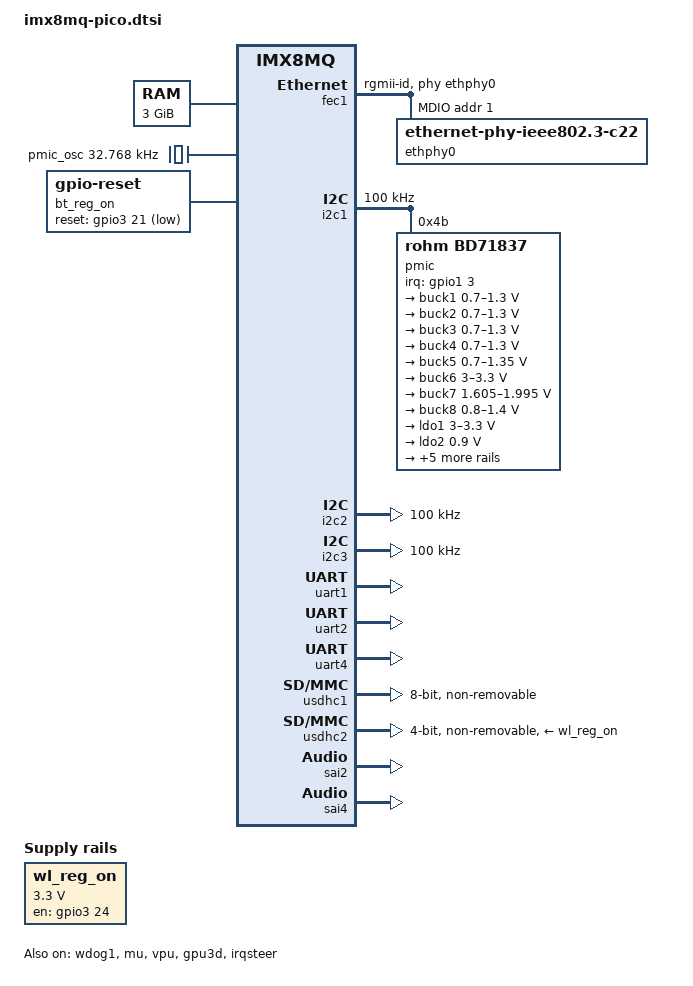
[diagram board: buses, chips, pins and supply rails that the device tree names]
// SPDX-License-Identifier: GPL-2.0+
/*
 * Copyright 2018 Wandboard, Org.
 * Copyright 2017 NXP
 *
 * Author: Richard Hu <hakahu@gmail.com>
 */

/dts-v1/;

#include "imx8mq.dtsi"

/ {
	chosen {
		bootargs = "console=ttymxc0,115200 earlycon=ec_imx6q,0x30860000,115200";
		stdout-path = &uart1;
	};

	memory@40000000 {
		device_type = "memory";
		reg = <0x00000000 0x40000000 0 0xc0000000>;
	};

	reserved-memory {
		#address-cells = <2>;
		#size-cells = <2>;
		ranges;

		rpmsg_reserved: rpmsg@b8000000 {
			no-map;
			reg = <0 0xb8000000 0 0x400000>;
		};
	};

	resmem: reserved-memory {
		#address-cells = <2>;
		#size-cells = <2>;
		ranges;

		/* global autoconfigured region for contiguous allocations */
		linux,cma {
			compatible = "shared-dma-pool";
			reusable;
			size = <0 0x30000000>;
			alloc-ranges = <0 0x40000000 0 0x40000000>;
			linux,cma-default;
		};
	};

	pmic_osc: clock-pmic {
		compatible = "fixed-clock";
		#clock-cells = <0>;
		clock-frequency = <32768>;
		clock-output-names = "pmic_osc";
	};

	bt_reg_on: btreg_on {
		compatible = "gpio-reset";
		pinctrl-names = "default";
		pinctrl-0 = <&pinctrl_bt_ctrl>;
		reset-gpios = <&gpio3 21 GPIO_ACTIVE_LOW>;
		reset-delay-us = <2000>;
		reset-post-delay-ms = <40>;
		#reset-cells = <0>;
	};

	regulators {
		compatible = "simple-bus";
		#address-cells = <1>;
		#size-cells = <0>;

		wl_reg_on: wlreg_on {
			compatible = "regulator-fixed";
			pinctrl-names = "default";
			pinctrl-0 = <&pinctrl_wifi_ctrl>;
			regulator-name = "WL_REG_ON";
			regulator-min-microvolt = <3300000>;
			regulator-max-microvolt = <3300000>;
			gpio = <&gpio3 24 GPIO_ACTIVE_HIGH>;
			off-on-delay = <20000>;
			startup-delay-us = <100>;
			enable-active-high;
		};
	};
};

&fec1 {
	pinctrl-names = "default";
	pinctrl-0 = <&pinctrl_fec1 &pinctrl_enet_3v3>;
	phy-mode = "rgmii-id";
	phy-handle = <&ethphy0>;
	fsl,magic-packet;
	status = "okay";

	mdio {
		#address-cells = <1>;
		#size-cells = <0>;

		ethphy0: ethernet-phy@1 {
			compatible = "ethernet-phy-ieee802.3-c22";
			reg = <1>;
			at803x,led-act-blind-workaround;
			at803x,eee-disabled;
			realtek,aldps-disable;
			realtek,clkout-disable;
		};
	};
};

&i2c1 {
	clock-frequency = <100000>;
	pinctrl-names = "default";
	pinctrl-0 = <&pinctrl_i2c1>;
	status = "okay";

	pmic: pmic@4b {
		reg = <0x4b>;
		compatible = "rohm,bd71837";
		pinctrl-names = "default";
		pinctrl-0 = <&pinctrl_pmic>;
		clocks = <&pmic_osc>;
		clock-names = "osc";
		clock-output-names = "pmic_clk";
		interrupt-parent = <&gpio1>;
		interrupts = <3 GPIO_ACTIVE_LOW>;
		interrupt-names = "irq";
		rohm,reset-snvs-powered;

		regulators {
			buck1: BUCK1 {
				regulator-name = "buck1";
				regulator-min-microvolt = <700000>;
				regulator-max-microvolt = <1300000>;
				regulator-boot-on;
				regulator-always-on;
				regulator-ramp-delay = <1250>;
				rohm,dvs-run-voltage = <900000>;
				rohm,dvs-idle-voltage = <850000>;
				rohm,dvs-suspend-voltage = <800000>;
			};

			buck2: BUCK2 {
				regulator-name = "buck2";
				regulator-min-microvolt = <700000>;
				regulator-max-microvolt = <1300000>;
				regulator-boot-on;
				regulator-always-on;
				regulator-ramp-delay = <1250>;
				rohm,dvs-run-voltage = <1000000>;
				rohm,dvs-idle-voltage = <900000>;
			};

			buck3: BUCK3 {
				regulator-name = "buck3";
				regulator-min-microvolt = <700000>;
				regulator-max-microvolt = <1300000>;
				regulator-boot-on;
				regulator-always-on;
				rohm,dvs-run-voltage = <900000>;
			};

			buck4: BUCK4 {
				regulator-name = "buck4";
				regulator-min-microvolt = <700000>;
				regulator-max-microvolt = <1300000>;
				regulator-boot-on;
				regulator-always-on;
				rohm,dvs-run-voltage = <900000>;
			};

			buck5: BUCK5 {
				regulator-name = "buck5";
				regulator-min-microvolt = <700000>;
				regulator-max-microvolt = <1350000>;
				regulator-boot-on;
				regulator-always-on;
			};

			buck6: BUCK6 {
				regulator-name = "buck6";
				regulator-min-microvolt = <3000000>;
				regulator-max-microvolt = <3300000>;
				regulator-boot-on;
				regulator-always-on;
			};

			buck7: BUCK7 {
				regulator-name = "buck7";
				regulator-min-microvolt = <1605000>;
				regulator-max-microvolt = <1995000>;
				regulator-boot-on;
				regulator-always-on;
			};

			buck8: BUCK8 {
				regulator-name = "buck8";
				regulator-min-microvolt = <800000>;
				regulator-max-microvolt = <1400000>;
				regulator-boot-on;
				regulator-always-on;
			};

			ldo1: LDO1 {
				regulator-name = "ldo1";
				regulator-min-microvolt = <3000000>;
				regulator-max-microvolt = <3300000>;
				regulator-boot-on;
				regulator-always-on;
			};

			ldo2: LDO2 {
				regulator-name = "ldo2";
				regulator-min-microvolt = <900000>;
				regulator-max-microvolt = <900000>;
				regulator-boot-on;
				regulator-always-on;
			};

			ldo3: LDO3 {
				regulator-name = "ldo3";
				regulator-min-microvolt = <1800000>;
				regulator-max-microvolt = <3300000>;
				regulator-boot-on;
				regulator-always-on;
			};

			ldo4: LDO4 {
				regulator-name = "ldo4";
				regulator-min-microvolt = <900000>;
				regulator-max-microvolt = <1800000>;
				regulator-boot-on;
				regulator-always-on;
			};

			ldo5: LDO5 {
				regulator-name = "ldo5";
				regulator-min-microvolt = <1800000>;
				regulator-max-microvolt = <3300000>;
				regulator-boot-on;
				regulator-always-on;
			};

			ldo6: LDO6 {
				regulator-name = "ldo6";
				regulator-min-microvolt = <900000>;
				regulator-max-microvolt = <1800000>;
				regulator-boot-on;
				regulator-always-on;
			};

			ldo7: LDO7 {
				regulator-name = "ldo7";
				regulator-min-microvolt = <1800000>;
				regulator-max-microvolt = <3300000>;
				regulator-boot-on;
				regulator-always-on;
			};
		};
	};
};

&i2c2 {
	clock-frequency = <100000>;
	pinctrl-names = "default";
	pinctrl-0 = <&pinctrl_i2c2>;
	status = "okay";
};

&i2c3 {
	clock-frequency = <100000>;
	pinctrl-names = "default";
	pinctrl-0 = <&pinctrl_i2c3>;
	status = "okay";
};

&uart1 { /* console */
	pinctrl-names = "default";
	pinctrl-0 = <&pinctrl_uart1>;
	status = "okay";
};

&uart2 { /* Bluetooth */
	pinctrl-names = "default";
	pinctrl-0 = <&pinctrl_uart2>;
	assigned-clocks = <&clk IMX8MQ_CLK_UART2>;
	assigned-clock-parents = <&clk IMX8MQ_SYS1_PLL_80M>;
	fsl,uart-has-rtscts;
	status = "okay";
};

&uart4 { /* 2nd console, CLIX connector */
	pinctrl-names = "default";
	pinctrl-0 = <&pinctrl_uart4>;
	assigned-clocks = <&clk IMX8MQ_CLK_UART4>;
	assigned-clock-parents = <&clk IMX8MQ_SYS1_PLL_80M>;
	fsl,uart-has-rtscts;
	status = "okay";
};

/* eMMC on SOM */
&usdhc1 {
	pinctrl-names = "default", "state_100mhz", "state_200mhz";
	pinctrl-0 = <&pinctrl_usdhc1>;
	pinctrl-1 = <&pinctrl_usdhc1_100mhz>;
	pinctrl-2 = <&pinctrl_usdhc1_200mhz>;
	bus-width = <8>;
	non-removable;
	status = "okay";
};

/* WIFI SDIO */
&usdhc2 {
	pinctrl-names = "default", "state_100mhz", "state_200mhz";
	pinctrl-0 = <&pinctrl_usdhc2>;
	pinctrl-1 = <&pinctrl_usdhc2_100mhz>;
	pinctrl-2 = <&pinctrl_usdhc2_200mhz>;
	vmmc-supply = <&wl_reg_on>;
	bus-width = <4>;
	no-1-8-v;
	pm-ignore-notify;
	keep-power-in-suspend;
	non-removable;
	status = "okay";
};

&wdog1 {
	pinctrl-names = "default";
	pinctrl-0 = <&pinctrl_wdog>;
	fsl,ext-reset-output;
	status = "okay";
};

&sai2 {
	pinctrl-names = "default";
	pinctrl-0 = <&pinctrl_sai2>;
	assigned-clocks = <&clk IMX8MQ_CLK_SAI2>;
	assigned-clock-parents = <&clk IMX8MQ_AUDIO_PLL1_OUT>;
	assigned-clock-rates = <24576000>;
	status = "okay";
};

&sai4 {
	assigned-clocks = <&clk IMX8MQ_CLK_SAI4>;
	assigned-clock-parents = <&clk IMX8MQ_AUDIO_PLL1_OUT>;
	assigned-clock-rates = <24576000>;
	clocks = <&clk IMX8MQ_CLK_SAI4_IPG>, <&clk IMX8MQ_CLK_DUMMY>,
		<&clk IMX8MQ_CLK_SAI4_ROOT>, <&clk IMX8MQ_CLK_DUMMY>,
		<&clk IMX8MQ_CLK_DUMMY>, <&clk IMX8MQ_AUDIO_PLL1_OUT>,
		<&clk IMX8MQ_AUDIO_PLL2_OUT>;
	clock-names = "bus", "mclk0", "mclk1", "mclk2", "mclk3", "pll8k", "pll11k";
	status = "okay";
};

&pgc_gpu {
	power-supply = <&buck3>;
};

&pgc_vpu {
	power-supply = <&buck4>;
};

&mu {
	status = "okay";
};

&A53_0 {
	cpu-supply = <&buck2>;
};

&A53_1 {
	cpu-supply = <&buck2>;
};

&A53_2 {
	cpu-supply = <&buck2>;
};

&A53_3 {
	cpu-supply = <&buck2>;
};

&vpu {
	status = "okay";
};

&gpu3d {
	status = "okay";
};

&irqsteer {
	status = "okay";
};

&snvs_rtc {
       status = "disabled";
};

&iomuxc {
	pinctrl_enet_3v3: enet3v3grp {
		fsl,pins = <
			MX8MQ_IOMUXC_GPIO1_IO00_GPIO1_IO0	0x19
		>;
	};

	pinctrl_fec1: fec1grp {
		fsl,pins = <
			MX8MQ_IOMUXC_ENET_MDC_ENET1_MDC		0x3
			MX8MQ_IOMUXC_ENET_MDIO_ENET1_MDIO	0x23
			MX8MQ_IOMUXC_ENET_TD3_ENET1_RGMII_TD3	0x1f
			MX8MQ_IOMUXC_ENET_TD2_ENET1_RGMII_TD2	0x1f
			MX8MQ_IOMUXC_ENET_TD1_ENET1_RGMII_TD1	0x1f
			MX8MQ_IOMUXC_ENET_TD0_ENET1_RGMII_TD0	0x1f
			MX8MQ_IOMUXC_ENET_RD3_ENET1_RGMII_RD3	0x91
			MX8MQ_IOMUXC_ENET_RD2_ENET1_RGMII_RD2	0x91
			MX8MQ_IOMUXC_ENET_RD1_ENET1_RGMII_RD1	0x91
			MX8MQ_IOMUXC_ENET_RD0_ENET1_RGMII_RD0	0x91
			MX8MQ_IOMUXC_ENET_TXC_ENET1_RGMII_TXC	0x1f
			MX8MQ_IOMUXC_ENET_RXC_ENET1_RGMII_RXC	0x91
			MX8MQ_IOMUXC_ENET_RX_CTL_ENET1_RGMII_RX_CTL	0x91
			MX8MQ_IOMUXC_ENET_TX_CTL_ENET1_RGMII_TX_CTL	0x1f
			MX8MQ_IOMUXC_GPIO1_IO09_GPIO1_IO9	0x36
		>;
	};

	pinctrl_i2c1: i2c1grp {
		fsl,pins = <
			MX8MQ_IOMUXC_I2C1_SCL_I2C1_SCL			0x4000007f
			MX8MQ_IOMUXC_I2C1_SDA_I2C1_SDA			0x4000007f
		>;
	};

	pinctrl_i2c2: i2c2grp {
		fsl,pins = <
			MX8MQ_IOMUXC_I2C2_SCL_I2C2_SCL			0x4000007f
			MX8MQ_IOMUXC_I2C2_SDA_I2C2_SDA			0x4000007f
		>;
	};

	pinctrl_i2c3: i2c3grp {
		fsl,pins = <
			MX8MQ_IOMUXC_I2C3_SCL_I2C3_SCL			0x4000007f
			MX8MQ_IOMUXC_I2C3_SDA_I2C3_SDA			0x4000007f
		>;
	};

	pinctrl_pmic: pmicirq {
		fsl,pins = <
			MX8MQ_IOMUXC_GPIO1_IO03_GPIO1_IO3	0x41
		>;
	};

	pinctrl_wifi_ctrl: wifi_ctrlgrp {
		fsl,pins = <
			MX8MQ_IOMUXC_SAI5_RXD3_GPIO3_IO24		0x19 /* WL_REG_ON */
		>;
	};

	pinctrl_bt_ctrl: bt_ctrlgrp {
		fsl,pins = <
			MX8MQ_IOMUXC_SAI5_RXD0_GPIO3_IO21		0x19 /* BT_ON */
		>;
	};

	pinctrl_uart1: uart1grp {
		fsl,pins = <
			MX8MQ_IOMUXC_UART1_RXD_UART1_DCE_RX		0x49
			MX8MQ_IOMUXC_UART1_TXD_UART1_DCE_TX		0x49
		>;
	};

	pinctrl_uart2: uart2grp {
		fsl,pins = <
			MX8MQ_IOMUXC_UART2_RXD_UART2_DCE_RX		0x49
			MX8MQ_IOMUXC_UART2_TXD_UART2_DCE_TX		0x49
			MX8MQ_IOMUXC_UART4_RXD_UART2_DCE_CTS_B		0x49
			MX8MQ_IOMUXC_UART4_TXD_UART2_DCE_RTS_B		0x49
		>;
	};

	pinctrl_uart4: uart4grp {
		fsl,pins = <
		MX8MQ_IOMUXC_ECSPI2_MOSI_UART4_DCE_TX		0x49
		MX8MQ_IOMUXC_ECSPI2_SCLK_UART4_DCE_RX		0x49
		MX8MQ_IOMUXC_ECSPI2_MISO_UART4_DCE_CTS_B	0x49
		MX8MQ_IOMUXC_ECSPI2_SS0_UART4_DCE_RTS_B		0x49
		>;
	};

	pinctrl_usdhc1: usdhc1grp {
		fsl,pins = <
			MX8MQ_IOMUXC_SD1_CLK_USDHC1_CLK			0x83
			MX8MQ_IOMUXC_SD1_CMD_USDHC1_CMD			0xc3
			MX8MQ_IOMUXC_SD1_DATA0_USDHC1_DATA0		0xc3
			MX8MQ_IOMUXC_SD1_DATA1_USDHC1_DATA1		0xc3
			MX8MQ_IOMUXC_SD1_DATA2_USDHC1_DATA2		0xc3
			MX8MQ_IOMUXC_SD1_DATA3_USDHC1_DATA3		0xc3
			MX8MQ_IOMUXC_SD1_DATA4_USDHC1_DATA4		0xc3
			MX8MQ_IOMUXC_SD1_DATA5_USDHC1_DATA5		0xc3
			MX8MQ_IOMUXC_SD1_DATA6_USDHC1_DATA6		0xc3
			MX8MQ_IOMUXC_SD1_DATA7_USDHC1_DATA7		0xc3
			MX8MQ_IOMUXC_SD1_STROBE_USDHC1_STROBE		0x83
		>;
	};

	pinctrl_usdhc1_100mhz: usdhc1grp100mhz {
		fsl,pins = <
			MX8MQ_IOMUXC_SD1_CLK_USDHC1_CLK			0x85
			MX8MQ_IOMUXC_SD1_CMD_USDHC1_CMD			0xc5
			MX8MQ_IOMUXC_SD1_DATA0_USDHC1_DATA0		0xc5
			MX8MQ_IOMUXC_SD1_DATA1_USDHC1_DATA1		0xc5
			MX8MQ_IOMUXC_SD1_DATA2_USDHC1_DATA2		0xc5
			MX8MQ_IOMUXC_SD1_DATA3_USDHC1_DATA3		0xc5
			MX8MQ_IOMUXC_SD1_DATA4_USDHC1_DATA4		0xc5
			MX8MQ_IOMUXC_SD1_DATA5_USDHC1_DATA5		0xc5
			MX8MQ_IOMUXC_SD1_DATA6_USDHC1_DATA6		0xc5
			MX8MQ_IOMUXC_SD1_DATA7_USDHC1_DATA7		0xc5
			MX8MQ_IOMUXC_SD1_STROBE_USDHC1_STROBE		0x85
		>;
	};

	pinctrl_usdhc1_200mhz: usdhc1grp200mhz {
		fsl,pins = <
			MX8MQ_IOMUXC_SD1_CLK_USDHC1_CLK			0x87
			MX8MQ_IOMUXC_SD1_CMD_USDHC1_CMD			0xc7
			MX8MQ_IOMUXC_SD1_DATA0_USDHC1_DATA0		0xc7
			MX8MQ_IOMUXC_SD1_DATA1_USDHC1_DATA1		0xc7
			MX8MQ_IOMUXC_SD1_DATA2_USDHC1_DATA2		0xc7
			MX8MQ_IOMUXC_SD1_DATA3_USDHC1_DATA3		0xc7
			MX8MQ_IOMUXC_SD1_DATA4_USDHC1_DATA4		0xc7
			MX8MQ_IOMUXC_SD1_DATA5_USDHC1_DATA5		0xc7
			MX8MQ_IOMUXC_SD1_DATA6_USDHC1_DATA6		0xc7
			MX8MQ_IOMUXC_SD1_DATA7_USDHC1_DATA7		0xc7
			MX8MQ_IOMUXC_SD1_STROBE_USDHC1_STROBE		0x87
		>;
	};

	pinctrl_usdhc2: usdhc2grp {
		fsl,pins = <
			MX8MQ_IOMUXC_SD2_CLK_USDHC2_CLK			0x83
			MX8MQ_IOMUXC_SD2_CMD_USDHC2_CMD			0xc3
			MX8MQ_IOMUXC_SD2_DATA0_USDHC2_DATA0		0xc3
			MX8MQ_IOMUXC_SD2_DATA1_USDHC2_DATA1		0xc3
			MX8MQ_IOMUXC_SD2_DATA2_USDHC2_DATA2		0xc3
			MX8MQ_IOMUXC_SD2_DATA3_USDHC2_DATA3		0xc3
			MX8MQ_IOMUXC_GPIO1_IO04_USDHC2_VSELECT		0xc1
		>;
	};

	pinctrl_usdhc2_100mhz: usdhc2grp100mhz {
		fsl,pins = <
			MX8MQ_IOMUXC_SD2_CLK_USDHC2_CLK			0x85
			MX8MQ_IOMUXC_SD2_CMD_USDHC2_CMD			0xc5
			MX8MQ_IOMUXC_SD2_DATA0_USDHC2_DATA0		0xc5
			MX8MQ_IOMUXC_SD2_DATA1_USDHC2_DATA1		0xc5
			MX8MQ_IOMUXC_SD2_DATA2_USDHC2_DATA2		0xc5
			MX8MQ_IOMUXC_SD2_DATA3_USDHC2_DATA3		0xc5
			MX8MQ_IOMUXC_GPIO1_IO04_USDHC2_VSELECT		0xc1
		>;
	};

	pinctrl_usdhc2_200mhz: usdhc2grp200mhz {
		fsl,pins = <
			MX8MQ_IOMUXC_SD2_CLK_USDHC2_CLK			0x87
			MX8MQ_IOMUXC_SD2_CMD_USDHC2_CMD			0xc7
			MX8MQ_IOMUXC_SD2_DATA0_USDHC2_DATA0		0xc7
			MX8MQ_IOMUXC_SD2_DATA1_USDHC2_DATA1		0xc7
			MX8MQ_IOMUXC_SD2_DATA2_USDHC2_DATA2		0xc7
			MX8MQ_IOMUXC_SD2_DATA3_USDHC2_DATA3		0xc7
			MX8MQ_IOMUXC_GPIO1_IO04_USDHC2_VSELECT		0xc1
		>;
	};

	pinctrl_sai2: sai2grp {
		fsl,pins = <
			MX8MQ_IOMUXC_SAI2_TXFS_SAI2_TX_SYNC	0xd6
			MX8MQ_IOMUXC_SAI2_TXC_SAI2_TX_BCLK	0xd6
			MX8MQ_IOMUXC_SAI2_MCLK_SAI2_MCLK	0xd6
			MX8MQ_IOMUXC_SAI2_TXD0_SAI2_TX_DATA0	0xd6
			MX8MQ_IOMUXC_SAI2_RXD0_SAI2_RX_DATA0    0xd6
		>;
	};

	pinctrl_wdog: wdoggrp {
		fsl,pins = <
			MX8MQ_IOMUXC_GPIO1_IO02_WDOG1_WDOG_B 0xc6
		>;
	};
};
